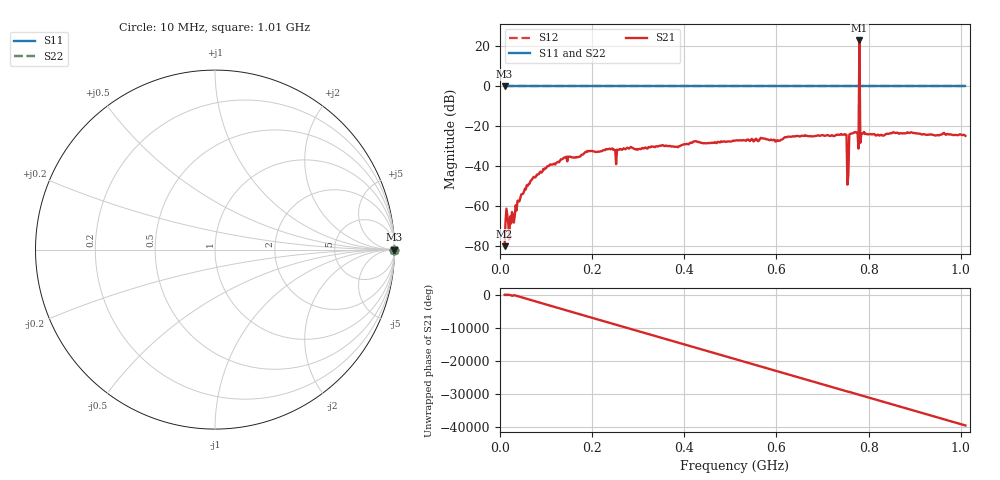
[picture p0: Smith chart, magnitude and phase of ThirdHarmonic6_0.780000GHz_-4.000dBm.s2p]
! 8/16/2025 2:01:58 AM
! C:\ANRITSUVNA\TEMP\TEMP.S2P
! CHANNEL.1
! TR.MEASUREMENT
! RAW.DATA
! RF.CORRECTION.OFF
! AVERAGING.OFF
! IF.BANDWIDTH: 5KHZ
! SWEEPTYPE:  FREQ.SWEEP(Linear)
! Reference Plane Port Info
! PORT:  PORT1  PORT2
! DISTANCE:  0  m  0  m
! TIME:  0  s  0  s
! PHASE.OFFSET:  0  deg.  0  deg.
! LOSS:  0  dB  0  dB
! REF.LOSS:  0  dB  0  dB
! REF.FREQ:  0  Hz  0  Hz
! Power Info
! POWER:  -20  dBm  -20  dBm
! EFF.POWER:  -20  dBm  -20  dBm
! SOURCE.ATTEN:  0  dB  0  dB
! TEST.ATTEN:  0  dB  0  dB
# GHZ S RI R 50.0
! FREQ.GHZ  S11RE  S11IM  S21RE  S21IM  S12RE  S12IM  S22RE  S22IM
!; PortSelection: Port_12
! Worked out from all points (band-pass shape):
!   501 points, 10 MHz to 1.01 GHz, reference 50 ohm
!   highest |S21| = 23.03 dB at 780 MHz (marker M1); lowest = -80.2 dB at 10 MHz (marker M2)
!   |S21| within 3 dB of the highest: 779.8894 MHz to 780.1168 MHz (227.4 kHz wide, 0.0292 % of centre)
!   lowest |S11| = 0.0 dB at 10 MHz (marker M3)
!   |S11| at or under -10 dB: nowhere
!   |S22| runs from 0.0 to 0.0 dB; largest |S21 - S12| = 14
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0.01  1 0  -5.92e-05 7.75e-05  1 0  1 0
0.014  1 0  0.000394 0.000756  1 0  1 0
0.024  1 0  0.000359 -3.18e-05  1 0  1 0
0.042  1 0  0.000895 -0.00093  1 0  1 0
0.07  1 0  -0.00163 -0.00442  1 0  1 0
0.14  1 0  0.00395 -0.0159  1 0  1 0
0.178  1 0  -0.0188 -0.00449  1 0  1 0
0.344  1 0  0.0308 -0.00598  1 0  1 0
0.51  1 0  -0.0413 0.0135  1 0  1 0
0.678  1 0  -0.0225 -0.0508  1 0  1 0
0.748  1 0  0.0374 -0.0508  1 0  1 0
0.752  1 0  -0.0508 0.0335  1 0  1 0
0.754  1 0  0.0029 0.0018  1 0  1 0
0.758  1 0  -0.000628 -0.0612  1 0  1 0
0.762  1 0  -0.0147 0.0631  1 0  1 0
0.774  1 0  0.063 -0.0267  1 0  1 0
0.776  1 0  -0.017 -0.0657  1 0  1 0
0.78  1 0  0.4316 14.17  1 0  1 0
0.784  1 0  0.0239 -0.0605  1 0  1 0
0.786  1 0  -0.0557 -0.0339  1 0  1 0
0.844  1 0  0.0471 0.0441  1 0  1 0
1.01  1 0  -0.0557 -0.0125  1 0  1 0
